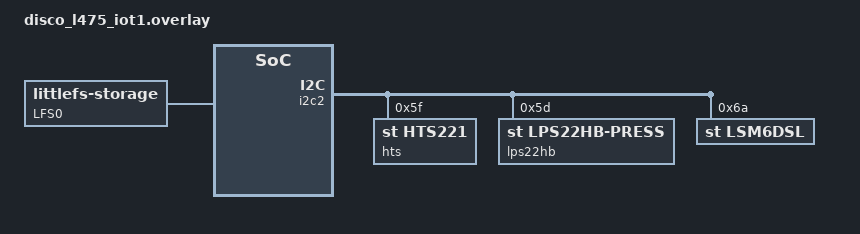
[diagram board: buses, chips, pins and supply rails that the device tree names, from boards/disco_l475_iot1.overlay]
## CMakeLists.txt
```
cmake_minimum_required(VERSION 3.20.0)
find_package(Zephyr REQUIRED HINTS $ENV{ZEPHYR_BASE})
project(sensor_log)

#include_directories(include)
target_sources(app PRIVATE src/main.c src/shell_cmds.c src/fs_log.c)
include_directories(include)
```

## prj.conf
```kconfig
# Logging / shell
CONFIG_LOG=y
CONFIG_LOG_MODE_IMMEDIATE=n
CONFIG_LOG_BUFFER_SIZE=4096
CONFIG_SHELL=y
CONFIG_SHELL_BACKEND_SERIAL=y
CONFIG_CBPRINTF_FP_SUPPORT=y
CONFIG_FPU=y
# Sensors (on B-L475E-IOT01A / STM32L475 IoT Node)
CONFIG_I2C=y
CONFIG_SENSOR=y
CONFIG_HTS221=y
CONFIG_LPS22HB=y
CONFIG_LSM6DSL=y

# File system (LittleFS on internal flash)
CONFIG_FLASH=y
CONFIG_FLASH_MAP=y
CONFIG_FILE_SYSTEM=y
CONFIG_FILE_SYSTEM_LITTLEFS=y
#CONFIG_FS_LOG_BUFFER_SIZE=1024
CONFIG_FS_LITTLEFS_FC_HEAP_SIZE=2048
CONFIG_MAIN_STACK_SIZE=4096

# Threading / timing
CONFIG_SYSTEM_WORKQUEUE_STACK_SIZE=2048

# Power management (prepare now, tune later)
#CONFIG_PM=y
#CONFIG_PM_DEVICE=y
#CONFIG_PM_DEVICE_RUNTIME=y
#CONFIG_PM_POLICY_RESIDENCY=y

# Optional: ring buffer for live stream backpressure
CONFIG_RING_BUFFER=y

# To keep printf small
#CONFIG_NEWLIB_LIBC=y
#CONFIG_NEWLIB_LIBC_FLOAT_PRINTF=y
```

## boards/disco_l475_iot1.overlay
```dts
/ {
	aliases {
		ht-sensor = &hts;        
		pressure-sensor = &lps22hb;
		imu-sensor = &lsm6dsl;
	};

	chosen {
		zephyr,code-partition = &slot0_partition;
	};

	/* One LittleFS volume mounted at /lfs (128 KiB) */
	lfs0: lfs {
		compatible = "zephyr,littlefs-storage";
		label = "LFS0";
		mount-point = "/lfs";
		partition = <&app_lfs>;

		/* STM32L4 internal flash geometry */
		erase-block-size = <2048>;	/* 2 KiB page */
		read-size = <16>;
		prog-size = <16>;
		cache-size = <64>;
		lookahead-size = <32>;		/* multiple of 32 */
		block-cycles = <512>;
	};
};

/* If your sensors are on I2C2; change to &i2c1 if that’s your board wiring */
&i2c2 {
	status = "okay";

	/* HTS221 @ 0x5F */
	hts: hts221@5f {
		compatible = "st,hts221";
		reg = <0x5f>;
		/* adjust to your actual DRDY pin if you want an IRQ */
		/* drdy-gpios = <&gpiod 15 GPIO_ACTIVE_HIGH>; */
		status = "okay";
	};

	/* LPS22HB @ 0x5D (some boards use 0x5C) */
	lps22hb: lps22hb-press@5d {
		compatible = "st,lps22hb-press";
		reg = <0x5d>;
		status = "okay";
	};

	/* LSM6DSL @ 0x6A (alt addr 0x6B) */
	lsm6dsl: lsm6dsl@6a {
		compatible = "st,lsm6dsl";
		reg = <0x6a>;
		/* irq-gpios = <&gpiod 11 GPIO_ACTIVE_HIGH>; */
		status = "okay";
	};
};

&flash0 {
	/delete-node/ partitions;

	partitions {
		compatible = "fixed-partitions";
		#address-cells = <1>;
		#size-cells = <1>;

		/* 0x00000000 .. 0x0000FFFF (64 KiB) */
		boot_partition: partition@0 {
			label = "mcuboot";
			reg = <0x00000000 0x00010000>;
			read-only;
		};

		/* 0x00010000 .. 0x000EFFFF (832 KiB) */
		slot0_partition: partition@10000 {
			label = "image-0";
			reg = <0x00010000 0x000D0000>;
		};

		/* 0x000E0000 .. 0x000FFFFF (128 KiB) */
		app_lfs: partition@e0000 {
			label = "app-lfs";
			reg = <0x000E0000 0x00020000>;
		};
	};
};
```

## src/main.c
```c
#include <zephyr/kernel.h>
#include <zephyr/device.h>
#include <zephyr/devicetree.h>
#include <zephyr/drivers/sensor.h>
#include <zephyr/pm/pm.h>
#include <zephyr/pm/device.h>
#include <zephyr/logging/log.h>
#include <zephyr/sys/printk.h>

#include "fs_log.h"
#include "shell_cmds.h"

LOG_MODULE_REGISTER(app);
//struct k_thread sampler_t;
//K_THREAD_STACK_DEFINE(sampler_stack,512);
/* devices */
//static const struct device *const dev_hts = DEVICE_DT_GET_ONE(st_hts221);
//static const struct device *const dev_lps = DEVICE_DT_GET_ONE(st_lps22hb_press);
//static const struct device *const dev_imu = DEVICE_DT_GET_ONE(st_lsm6dsl);

static const struct device *const dev_hts = DEVICE_DT_GET(DT_ALIAS(ht_sensor));
static const struct device *const dev_lps = DEVICE_DT_GET(DT_ALIAS(pressure_sensor));
static const struct device *const dev_imu = DEVICE_DT_GET(DT_ALIAS(imu_sensor));

/* last-sample globals (read by shell) */
volatile float g_last_temp_c = 0.0f, g_last_hum = 0.0f, g_last_press_hpa = 0.0f;
volatile float g_last_ax = 0.0f, g_last_ay = 0.0f, g_last_az = 0.0f;

/* runtime controls */
static atomic_t g_live_print = ATOMIC_INIT(0);
//static struct k_mutex g_rate_lock;
//extern uint32_t g_period_ms ;
//g_period_ms = 1000;

void sens_set_live(bool en)
{
	atomic_set(&g_live_print, en ? 1 : 0);
}

/* sampling thread */
void sampler(void *a, void *b, void *c)
{

	while (1) {
		uint32_t period = sens_get_period_ms();
		printk("in thread yo \r\n");
		/* fetch */
		(void)sensor_sample_fetch(dev_hts);
		(void)sensor_sample_fetch(dev_lps);
		(void)sensor_sample_fetch(dev_imu);

		/* HTS221 */
		struct sensor_value t, h;
		if (sensor_channel_get(dev_hts, SENSOR_CHAN_AMBIENT_TEMP, &t) == 0) {
			g_last_temp_c = sensor_value_to_double(&t);
		}
		if (sensor_channel_get(dev_hts, SENSOR_CHAN_HUMIDITY, &h) == 0) {
			g_last_hum = sensor_value_to_double(&h);
		}

		/* LPS22HB */
		struct sensor_value p;
		if (sensor_channel_get(dev_lps, SENSOR_CHAN_PRESS, &p) == 0) {
			g_last_press_hpa = sensor_value_to_double(&p);
		}

		/* LSM6DSL accel */
		struct sensor_value ax, ay, az;
		if (sensor_channel_get(dev_imu, SENSOR_CHAN_ACCEL_X, &ax) == 0 &&
		    sensor_channel_get(dev_imu, SENSOR_CHAN_ACCEL_Y, &ay) == 0 &&
		    sensor_channel_get(dev_imu, SENSOR_CHAN_ACCEL_Z, &az) == 0) {
			g_last_ax = sensor_value_to_double(&ax);
			g_last_ay = sensor_value_to_double(&ay);
			g_last_az = sensor_value_to_double(&az);
		}

		/* CSV line */
		char line[160];
		snprintk(line, sizeof(line), "%llu,%.2f,%.1f,%.2f,%.3f,%.3f,%.3f\r\n",
			(unsigned long long)k_uptime_get(),
			(double)g_last_temp_c, (double)g_last_hum, (double)g_last_press_hpa,
			(double)g_last_ax, (double)g_last_ay, (double)g_last_az);

		(void)fslog_append(line);

		if (atomic_get(&g_live_print)) {
			printk("%s", line);
		}

		/* hint PM: let CPU idle/sleep until next period */
		k_msleep(period);
	}
}

K_THREAD_STACK_DEFINE(sampler_stack, 2048);
static struct k_thread sampler_t;

static int devices_ready(void)
{
	if (!device_is_ready(dev_hts) || !device_is_ready(dev_lps) || !device_is_ready(dev_imu)) {
		LOG_ERR("sensor device(s) not ready");
		return -ENODEV;
	}
	return 0;
}

int main(void)
{
//	k_mutex_init(&g_rate_lock);

	if (devices_ready()) {
		LOG_ERR("Missing sensors; check overlay/board.");
		return 0;
	}

	if (fslog_init()) {
		LOG_ERR("fs init failed");
	}

	/* optional: put unused devices into runtime suspended state later */
//	if (IS_ENABLED(CONFIG_PM_DEVICE_RUNTIME)) {
		/* example: pm_device_action_run(dev_imu, PM_DEVICE_ACTION_SUSPEND); */
//	}

	k_thread_create(&sampler_t, sampler_stack, K_THREAD_STACK_SIZEOF(sampler_stack),
		sampler, NULL, NULL, NULL, K_PRIO_PREEMPT(5), 0, K_NO_WAIT);

	/* shell commands are registered by link */
	LOG_INF("sensor logger ready. try: sens show | sens cat 1024 | sens rate 2000 | sens live on");

	return 0;
}
```

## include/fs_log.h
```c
#ifndef FS_LOG_H
#define FS_LOG_H

#include <zephyr/kernel.h>
#include <zephyr/fs/fs.h>

int fslog_init(void);
int fslog_append(const char *line);
int fslog_cat(size_t max_bytes);	/* print to shell/console */
int fslog_clear(void);

#endif
```

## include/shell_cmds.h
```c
#ifndef SHELL_CMDS_H
#define SHELL_CMDS_H

#include <zephyr/shell/shell.h>

void sens_shell_register(void);
void sens_update_period_ms(uint32_t ms);
uint32_t sens_get_period_ms(void);
void sens_set_live(bool en);

#endif
```

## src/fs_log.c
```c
#include <zephyr/kernel.h>
#include <zephyr/device.h>
#include <zephyr/fs/fs.h>
#include <zephyr/logging/log.h>
#include <string.h>

LOG_MODULE_REGISTER(fslog, LOG_LEVEL_INF);

#define LOG_PATH	"/lfs/senslog.csv"

static struct fs_mount_t lfs_mnt = {
	.type = FS_LITTLEFS,
	.mnt_point = "/lfs",
	.fs_data = NULL,
};

int fslog_init(void)
{
	int rc;

	rc = fs_mount(&lfs_mnt);
	if (rc != 0 && rc != -EEXIST) {
		LOG_ERR("mount failed: %d", rc);
		return rc;
	}

	/* ensure file exists with header */
	struct fs_file_t f;
	fs_file_t_init(&f);
	rc = fs_open(&f, LOG_PATH, FS_O_CREATE | FS_O_READ | FS_O_WRITE);
	if (rc) {
		LOG_ERR("open header: %d", rc);
		return rc;
	}

	/* write header if empty */
	struct fs_dirent ent;
	rc = fs_stat(LOG_PATH, &ent);
	if (rc == 0 && ent.size == 0) {
		const char *hdr = "ts_ms,temp_c,hum_pct,press_hpa,ax,ay,az\r\n";
		(void)fs_write(&f, hdr, strlen(hdr));
	}
	fs_close(&f);
	return 0;
}

int fslog_append(const char *line)
{
	struct fs_file_t f;
	int rc;

	fs_file_t_init(&f);
	rc = fs_open(&f, LOG_PATH, FS_O_WRITE | FS_O_APPEND);
	if (rc) {
		LOG_ERR("append open: %d", rc);
		return rc;
	}
	rc = fs_write(&f, line, strlen(line));
	fs_close(&f);
	return rc < 0 ? rc : 0;
}

int fslog_cat(size_t max_bytes)
{
	struct fs_file_t f;
	int rc;

	fs_file_t_init(&f);
	rc = fs_open(&f, LOG_PATH, FS_O_READ);
	if (rc) {
		LOG_ERR("cat open: %d", rc);
		return rc;
	}

	char buf[256];
	size_t left = max_bytes;
	ssize_t rd;

	while (left > 0 && (rd = fs_read(&f, buf, MIN(left, sizeof(buf)))) > 0) {
		printk("%.*s", (int)rd, buf);
		left -= rd;
	}

	fs_close(&f);
	return 0;
}

int fslog_clear(void)
{
	/* truncate by re-creating */
	int rc = fs_unlink(LOG_PATH);
	if (rc && rc != -ENOENT) {
		return rc;
	}
	return fslog_init();
}
```

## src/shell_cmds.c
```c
#include <zephyr/kernel.h>
#include <zephyr/shell/shell.h>
#include <zephyr/logging/log.h>
#include <ctype.h>
#include <stdlib.h>

#include "fs_log.h"
#include "shell_cmds.h"

LOG_MODULE_REGISTER(sens_sh, LOG_LEVEL_INF);
static struct k_mutex g_rate_lock;

extern volatile float g_last_temp_c, g_last_hum, g_last_press_hpa;
extern volatile float g_last_ax, g_last_ay, g_last_az;

uint32_t g_period_ms = 1000;


static int cmd_sens_show(const struct shell *sh, size_t argc, char **argv)
{
	ARG_UNUSED(argc); ARG_UNUSED(argv);
	shell_print(sh, "T=%.2f C, H=%.1f %%, P=%.2f hPa, A=[%.3f,%.3f,%.3f] g",
		(double)g_last_temp_c, (double)g_last_hum, (double)g_last_press_hpa,
		(double)g_last_ax, (double)g_last_ay, (double)g_last_az);
	return 0;
}

static int cmd_sens_cat(const struct shell *sh, size_t argc, char **argv)
{
	size_t maxb = SIZE_MAX;
	if (argc == 2) {
		maxb = (size_t)strtoul(argv[1], NULL, 10);
	}
	(void)fslog_cat(maxb);
	return 0;
}

static int cmd_sens_clear(const struct shell *sh, size_t argc, char **argv)
{
	ARG_UNUSED(argc); ARG_UNUSED(argv);
	int rc = fslog_clear();
	shell_print(sh, rc ? "clear failed: %d" : "cleared", rc);
	return rc;
}

static int cmd_sens_rate(const struct shell *sh, size_t argc, char **argv)
{
	if (argc != 2) {
		shell_print(sh, "rate: %u ms", sens_get_period_ms());
		return 0;
	}
	uint32_t ms = (uint32_t)strtoul(argv[1], NULL, 10);
	if (ms < 100) ms = 100;
	sens_update_period_ms(ms);
	shell_print(sh, "rate set: %u ms", ms);
	return 0;
}

static int cmd_sens_live(const struct shell *sh, size_t argc, char **argv)
{
	if (argc != 2) {
		shell_print(sh, "usage: sens live on|off");
		return 0;
	}
	bool en = (argv[1][0] == 'o' && argv[1][1] == 'n');
	sens_set_live(en);
	shell_print(sh, "live: %s", en ? "on" : "off");
	return 0;
}

SHELL_STATIC_SUBCMD_SET_CREATE(sub_sens,
	SHELL_CMD(show, NULL, "show last sample", cmd_sens_show),
	SHELL_CMD(cat,  NULL, "print log (opt: <max_bytes>)", cmd_sens_cat),
	SHELL_CMD(clear,NULL, "truncate log", cmd_sens_clear),
	SHELL_CMD(rate, NULL, "get/set period ms", cmd_sens_rate),
	SHELL_CMD(live, NULL, "enable/disable live prints", cmd_sens_live),
	SHELL_SUBCMD_SET_END
);
void sens_update_period_ms(uint32_t ms)
{
	k_mutex_init(&g_rate_lock);
        k_mutex_lock(&g_rate_lock, K_FOREVER);
        g_period_ms = ms;
        k_mutex_unlock(&g_rate_lock);
}

uint32_t sens_get_period_ms(void)
{
        uint32_t ms;
	k_mutex_init(&g_rate_lock);
        k_mutex_lock(&g_rate_lock, K_FOREVER);
        ms = g_period_ms;
        k_mutex_unlock(&g_rate_lock);
        return ms;
}

SHELL_CMD_REGISTER(sens, &sub_sens, "sensor logging controls", NULL);

void sens_shell_register(void) { /* linker pulls via above */ }
```
